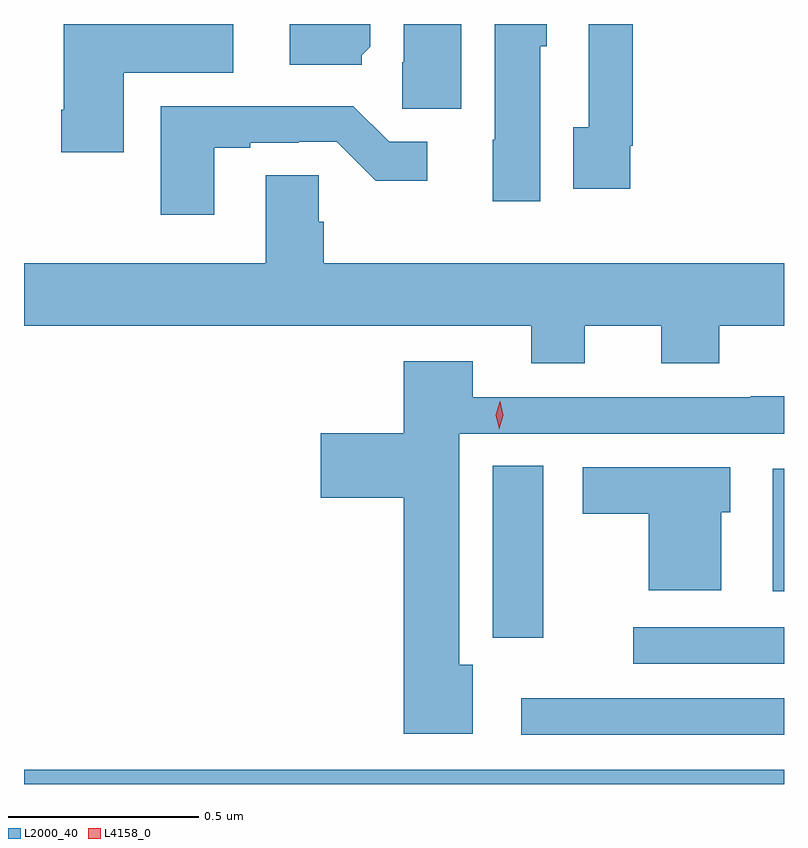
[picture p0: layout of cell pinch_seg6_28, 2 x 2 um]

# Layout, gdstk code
import gdstk
lib = gdstk.Library(unit=1e-6, precision=1e-09)
def R(c, l, rs):  # rectangles x0, y0, x1, y1
    for r in rs: c.add(gdstk.rectangle(r[:2], r[2:], *l))
def P(c, l, *ps):  # polygons
    for p in ps: c.add(gdstk.Polygon(p, *l))
L2000_40 = (2000, 40)
L4158_0 = (4158, 0)

pinch_seg6_28 = lib.new_cell('pinch_seg6_28')
R(pinch_seg6_28, L2000_40, [(980.645,963.446,982.645,963.484), (981.954,963.576,982.645,963.672), (982.248,963.762,982.645,963.858), (981.878,963.831,982.012,964.283), (982.616,963.953,982.645,964.276)])
P(pinch_seg6_28, L2000_40, [(981.534,965.364),(981.556,965.386),(981.556,965.446),(981.344,965.446),(981.344,965.339),(981.534,965.339)],
  [(980.908,965.318),(981.196,965.318),(981.196,965.446),(980.75,965.446),(980.75,965.221),(980.743,965.221),(980.743,965.109),(980.908,965.109)],
  [(982.24,965.125),(982.247,965.125),(982.247,965.446),(982.131,965.446),(982.131,965.174),(982.091,965.174),(982.091,965.013),(982.24,965.013)],
  [(981.796,965.446),(981.644,965.446),(981.644,965.346),(981.64,965.346),(981.64,965.223),(981.796,965.223)],
  [(982.003,965.388),(982.021,965.388),(982.021,965.446),(981.884,965.446),(981.884,965.142),(981.878,965.142),(981.878,964.98),(982.003,964.98)],
  [(981.145,965.121),(981.241,965.121),(981.241,965.133),(981.368,965.133),(981.368,965.136),(981.468,965.136),(981.571,965.034),(981.706,965.034),(981.706,965.136),(981.606,965.136),(981.512,965.23),(981.005,965.23),(981.005,964.944),(981.145,964.944)],
  [(982.12,964.652),(982.322,964.652),(982.322,964.553),(982.475,964.553),(982.475,964.652),(982.645,964.652),(982.645,964.816),(981.434,964.816),(981.434,964.926),(981.42,964.926),(981.42,965.048),(981.281,965.048),(981.281,964.816),(980.645,964.816),(980.645,964.652),(981.98,964.652),(981.98,964.553),(982.12,964.553)],
  [(981.826,963.76),(981.79,963.76),(981.79,964.368),(982.645,964.368),(982.645,964.466),(982.558,964.466),(982.558,964.464),(981.826,964.464),(981.826,964.558),(981.644,964.558),(981.644,964.369),(981.426,964.369),(981.426,964.199),(981.644,964.199),(981.644,963.578),(981.826,963.578)],
  [(982.48,964.161),(982.504,964.161),(982.504,964.279),(982.116,964.279),(982.116,964.157),(982.289,964.157),(982.289,963.956),(982.48,963.956)])
P(pinch_seg6_28, L4158_0, [(981.895,964.38),(981.895,964.381),(981.886,964.417),(981.897,964.452),(981.898,964.453),(981.898,964.452),(981.906,964.416),(981.895,964.381)])

lib.write_gds('pinch_seg6_28.gds')
